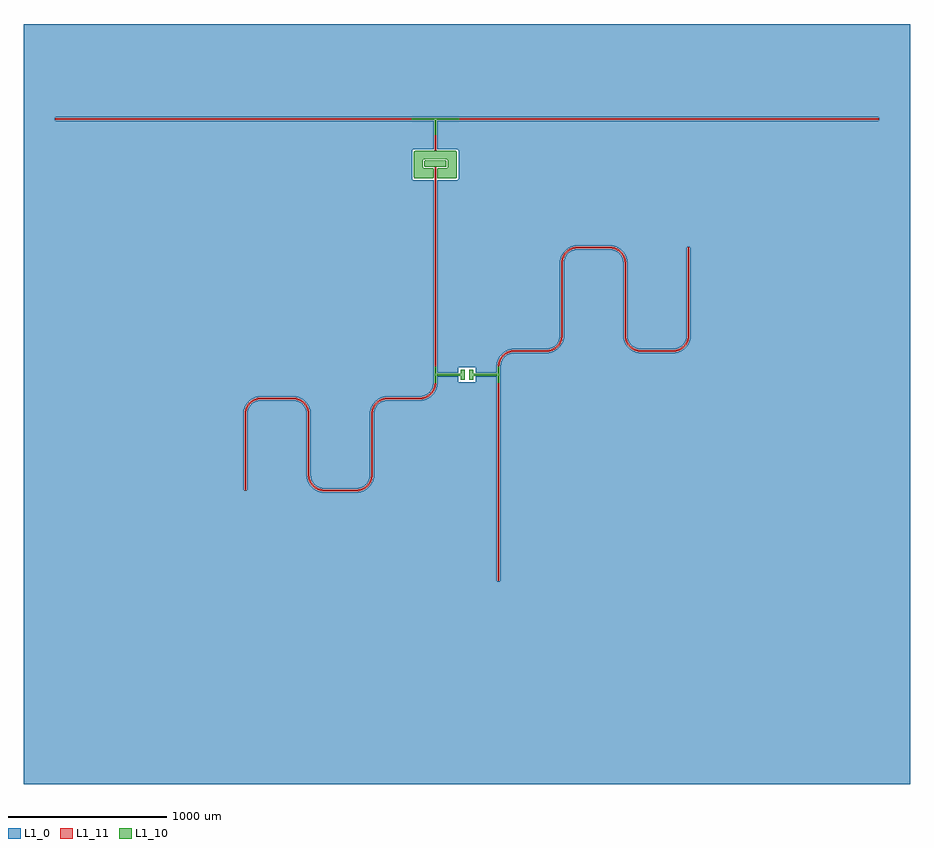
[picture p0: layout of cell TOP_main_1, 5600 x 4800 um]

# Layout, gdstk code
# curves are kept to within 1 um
import gdstk
lib = gdstk.Library(unit=1e-6, precision=1e-09)
def R(c, l, rs):  # rectangles x0, y0, x1, y1
    for r in rs: c.add(gdstk.rectangle(r[:2], r[2:], *l))
def P(c, l, *ps):  # polygons
    for p in ps: c.add(gdstk.Polygon(p, *l))
L1_0 = (1, 0)
L1_10 = (1, 10)
L1_11 = (1, 11)

ground_main_1 = lib.new_cell('ground_main_1')
R(ground_main_1, L1_0, [(-1017.121,1611,-652.812,2200), (-652.812,1611,-501,2200), (-501,1611,-55.724,2200), (-55.724,1611,299,2200), (299,1611,651.22,2200), (651.22,1611,1016.719,2200)])
P(ground_main_1, L1_0, [(-1017.121,-2600),(-1017.121,-231.779),(-1029.728,-209.729),(-1046.846,-193.12),(-1058.104,-186.08),(-1070.294,-180.814),(-1093.687,-176.161),(-1311.607,-176.642),(-1329.706,-180.814),(-1344.23,-187.351),(-1359.355,-198.131),(-1370.272,-209.729),(-1378.92,-223.104),(-1384.186,-235.294),(-1387.559,-248.138),(-1388.96,-261.342),(-1389,-745.727),(-1411,-745.727),(-1410.96,-261.021),(-1409.551,-246.204),(-1405.242,-228.877),(-1399.546,-215.126),(-1390.341,-199.827),(-1374.457,-182.121),(-1352.525,-166.814),(-1327.547,-157.251),(-1303.979,-154.04),(-1084.15,-155.007),(-1063.877,-159.758),(-1047.475,-166.814),(-1032.431,-176.43),(-1017.121,-190.543),(-1017.121,1589),(-2600,1589),(-2600,1611),(-1017.121,1611),(-1017.121,2200),(-2800,2200),(-2800,-2600)],
  [(-696.342,-734.687),(-672.82,-730.742),(-652.812,-721.621),(-652.812,1589),(-1017.121,1589),(-1017.121,-190.543),(-1004.746,-207.289),(-996.813,-223.285),(-991.572,-240.353),(-989.161,-258.045),(-987.998,-659.968),(-985.015,-672.907),(-980.12,-685.25),(-966.869,-705.081),(-957.339,-714.328),(-946.526,-722.035),(-934.676,-728.028),(-922.06,-732.17),(-901,-734.727)],
  [(-652.812,-746.56),(-675.353,-754.155),(-696.021,-756.686),(-912.893,-756.082),(-936.123,-750.969),(-957.711,-740.981),(-974.457,-728.605),(-990.341,-710.9),(-998.186,-698.252),(-1004.253,-684.66),(-1009.029,-667.456),(-1010.839,-652.682),(-1011,-264),(-1012.441,-248.138),(-1017.121,-231.779),(-1017.121,-2600),(-652.812,-2600)],
  [(-651.22,-720.626),(-636.775,-708.952),(-623.691,-692.252),(-615.814,-675.433),(-611.361,-654.691),(-611,-264),(-609.993,-249.15),(-606.99,-234.572),(-600.833,-217.812),(-592.046,-202.269),(-580.86,-188.353),(-567.569,-176.43),(-552.525,-166.814),(-536.123,-159.758),(-518.796,-155.449),(-501,-154),(-501,1589),(-652.812,1589),(-652.812,-721.621)],
  [(-501,-176),(-516.862,-177.441),(-529.706,-180.814),(-541.896,-186.08),(-553.154,-193.12),(-565.076,-203.682),(-573.423,-214.01),(-580.12,-225.476),(-585.768,-240.369),(-589,-264),(-590.007,-661.577),(-596.813,-687.442),(-609.659,-710.9),(-619.14,-722.374),(-630.084,-732.462),(-652.812,-746.56),(-652.812,-2600),(-501,-2600)],
  [(-189,1589),(-189,1410),(-65,1410),(-60.408,1409.087),(-55.724,1405.613),(-55.724,1589)],
  [(-299,-154),(-283.138,-152.559),(-265.324,-147.301),(-251.22,-139.899),(-238.682,-130.076),(-228.12,-118.154),(-219.88,-104.524),(-213.557,-87.06),(-211.161,-71.313),(-211,1213),(-335,1213),(-340.657,1214.417),(-344.978,1218.333),(-347,1225),(-346.942,1399.176),(-343.485,1406.485),(-336.176,1409.942),(-211,1410),(-211,1589),(-501,1589),(-501,-154)],
  [(-56,31.5),(-55.724,1217.387),(-60.408,1213.913),(-65,1213),(-189,1213),(-189,-4),(-56,-4)],
  [(-55.724,-62.509),(-56,-26),(-189,-26),(-189.645,-77.893),(-192.251,-92.547),(-197.953,-109.467),(-207.954,-127.731),(-219.14,-141.647),(-234.827,-155.341),(-250.126,-164.546),(-272.453,-172.749),(-293.045,-175.839),(-501,-176),(-501,-2600),(-55.724,-2600)],
  [(189.04,38.979),(192.251,62.547),(199.167,82.188),(209.659,100.173),(223.353,115.86),(239.758,128.684),(258.285,138.187),(278.271,144.029),(299,146),(299,1589),(-55.724,1589),(-55.724,1405.613),(-53,1398),(-53,1225),(-55.724,1217.387),(-55.724,32.509),(54.581,33.414),(56,31.5),(56,-4),(189,-4)],
  [(299,124),(283.138,122.559),(265.324,117.301),(251.22,109.899),(238.682,100.076),(228.12,88.154),(219.88,74.524),(213.557,57.06),(211.161,41.313),(211,-1321),(189,-1321),(189,-26),(56,-26),(56,-61.5),(54.581,-63.414),(-55.724,-62.509),(-55.724,-2600),(299,-2600)],
  [(503.658,146.04),(516.862,147.441),(532.205,151.719),(546.526,158.691),(557.339,166.399),(566.869,175.645),(576.309,188.474),(582.301,200.324),(587.04,215.53),(589,234),(589.645,701.322),(595.747,727.362),(601.814,740.954),(609.659,753.603),(627.788,773.267),(651.22,788.5),(651.22,1589),(299,1589),(299,146)],
  [(651.22,763.329),(636.775,751.655),(623.691,734.955),(614.985,715.61),(611.361,697.393),(610.96,231.021),(606.99,204.572),(596.755,179.862),(582.879,160.543),(565.173,144.659),(544.467,132.953),(521.729,125.971),(501,124),(299,124),(299,-2600),(651.22,-2600)],
  [(651.22,1589),(651.22,788.5),(672.453,796.178),(696.021,799.389),(912.893,798.784),(936.123,793.671),(957.711,783.684),(976.647,769.289),(993.684,748.672),(1000.833,735.617),(1006.155,721.717),(1010.839,695.385),(1011,234),(1012.441,218.138),(1016.719,202.795),(1016.719,1589)],
  [(1016.719,161.005),(1006.316,174.758),(997.953,190.533),(992.251,207.453),(989.363,225.073),(988.96,692.087),(985.768,713.06),(976.309,734.955),(963.225,751.655),(948.78,763.329),(929.706,772.616),(908.964,777.068),(693.687,777.269),(670.294,772.616),(651.22,763.329),(651.22,-2600),(1016.719,-2600)],
  [(2800,2200),(1016.719,2200),(1016.719,1611),(2600,1611),(2600,1589),(1016.719,1589),(1016.719,202.795),(1019.88,195.476),(1033.131,175.645),(1051.22,160.101),(1072.82,149.985),(1096.342,146.04),(1314.241,147.002),(1332.205,151.719),(1348.78,160.101),(1363.225,171.775),(1374.899,186.22),(1385.015,207.82),(1388.96,231.342),(1389,788.429),(1411,788.429),(1410.96,231.021),(1409.551,216.204),(1406.155,201.713),(1400.833,187.812),(1393.684,174.758),(1376.647,154.14),(1355.138,138.245),(1330.428,128.01),(1303.979,124.04),(1084.15,125.007),(1063.877,129.758),(1047.475,136.814),(1030.084,148.265),(1016.719,161.005),(1016.719,-2600),(2800,-2600)])

top_main_1 = lib.new_cell('TOP_main_1')
P(top_main_1, L1_10, [(-205,1500),(-205,1595),(-350,1595),(-350,1605),(-50,1605),(-50,1595),(-195,1595),(-195,1500),(-205,1500)],
  [(-270,1330),(-267.657,1335.657),(-262.784,1337.961),(-136.439,1337.846),(-132.343,1335.657),(-130.154,1331.561),(-130.154,1303.439),(-132.925,1298.816),(-138,1297),(-263.561,1297.154),(-267.657,1299.343),(-269.846,1303.439)],
  [(-218.902,1225.005),(-213.779,1226.948),(-211.067,1232.022),(-211.861,1284.594),(-218.022,1288.933),(-270,1289),(-275.075,1290.816),(-277.961,1296.216),(-278,1338),(-275.657,1343.657),(-270.784,1345.961),(-211,1346),(-211,1398),(-326.902,1398),(-331.276,1396.753),(-333.954,1393.94),(-335,1389.902),(-335,1233.098),(-333.753,1228.724),(-327.098,1225.005)],
  [(-72.902,1225.005),(-67.489,1227.211),(-65.005,1232.902),(-65,1389.902),(-66.699,1394.917),(-73.098,1398),(-211,1398),(-211,1346),(-129.216,1345.961),(-124.343,1343.657),(-122.039,1338.784),(-122.039,1296.216),(-124.925,1290.816),(-130,1289),(-181.588,1288.971),(-187.954,1284.94),(-189,1233.098),(-187.301,1228.083),(-181.098,1225.005)],
  [(-195,35),(-195,-10),(-40,-10),(-39.546,16.769),(-16.235,17.348),(-15,15.5),(-15.152,-46.265),(-17,-47.5),(-39.414,-46.914),(-40,-20),(-195,-20),(-195,-65),(-205,-65),(-205,35)],
  [(16.804,-47.49),(15,-45.5),(15,15.5),(16.235,17.348),(39.546,16.769),(40,-10),(195,-10),(195,35),(205,35),(205,-65),(195,-65),(195,-20),(40,-20),(39.546,-46.769)])
R(top_main_1, L1_11, [(195,-1315,205,-65), (-205,35,-195,1185), (-205,1185,-195,1297.001), (-205,1397.999,-195,1450), (-205,1450,-195,1500), (-2600,1595,-350,1605), (-50,1595,2600,1605)])
P(top_main_1, L1_11, [(-1395,-264),(-1393.572,-247.677),(-1389.331,-231.85),(-1382.406,-217),(-1373.008,-203.578),(-1361.422,-191.992),(-1348,-182.594),(-1333.15,-175.669),(-1317.323,-171.428),(-1301,-170),(-1088.087,-170.636),(-1072.04,-173.949),(-1054.388,-181.261),(-1040.698,-190.265),(-1028.78,-201.509),(-1028.78,-187.29),(-1037.408,-180.2),(-1059.864,-167.645),(-1084.715,-160.986),(-1301,-160),(-1326.53,-163.182),(-1350.499,-172.535),(-1369.302,-185.573),(-1386.465,-204.74),(-1399.365,-230.231),(-1403.582,-246.882),(-1404.961,-261.134),(-1405,-745.727),(-1395,-745.727)],
  [(-699,-740.727),(-901,-740.727),(-917.323,-739.299),(-938.231,-733.039),(-954.916,-723.727),(-969.373,-711.233),(-982.406,-693.727),(-991.797,-671.056),(-994.96,-649.461),(-995.355,-255.412),(-998.924,-235.701),(-1006.206,-217.041),(-1016.929,-200.122),(-1028.78,-187.29),(-1028.78,-201.509),(-1020.464,-212.346),(-1012.688,-226.769),(-1008.203,-239.671),(-1005.358,-255.807),(-1004.961,-649.592),(-1001.076,-675.025),(-989.6,-701.189),(-975.545,-719.246),(-957.883,-733.792),(-937.466,-744.124),(-915.285,-749.741),(-699,-750.727)],
  [(-696.134,-750.687),(-679.062,-748.798),(-662.534,-744.124),(-647,-736.793),(-632.885,-727.006),(-620.573,-715.029),(-610.4,-701.189),(-602.645,-685.863),(-597.517,-669.469),(-595,-646.727),(-594.841,-258.534),(-592.466,-242.322),(-587.312,-226.769),(-579.536,-212.346),(-569.373,-199.493),(-569.373,-185.636),(-583.071,-200.122),(-593.794,-217.041),(-601.076,-235.701),(-604.645,-255.412),(-605,-646.727),(-607.534,-668.405),(-611.641,-681.432),(-617.594,-693.727),(-625.265,-705.029),(-634.493,-715.1),(-647.346,-725.263),(-664.295,-734.085),(-682.677,-739.299),(-699,-740.727),(-699,-750.727)],
  [(-567.468,-197.532),(-554.916,-187),(-540.726,-178.807),(-527.96,-173.949),(-511.913,-170.636),(-296.134,-169.961),(-281.882,-168.582),(-265.231,-164.365),(-249.501,-157.465),(-235.122,-148.071),(-224.455,-138.519),(-213.535,-125.26),(-204.947,-110.385),(-199.742,-97.046),(-195.986,-80.285),(-195,-65),(-205,-65),(-205.992,-79.624),(-209.771,-95.567),(-216.261,-110.612),(-225.265,-124.302),(-242.867,-141.4),(-254.388,-148.739),(-266.85,-154.331),(-282.677,-158.572),(-296.266,-159.96),(-515.285,-160.986),(-537.466,-166.603),(-560.26,-178.535),(-569.373,-185.636),(-569.373,-199.493)],
  [(205,36),(205.992,49.624),(209.771,65.567),(214.999,78.187),(222,89.916),(230.627,100.507),(242.867,111.4),(254.388,118.739),(266.85,124.331),(282.677,128.572),(296.266,129.96),(501,130),(518.118,131.418),(540.136,137.645),(562.592,150.2),(571.22,157.29),(571.22,171.509),(559.302,160.265),(545.612,151.261),(527.96,143.949),(511.913,140.636),(296.134,139.961),(279.062,138.071),(262.534,133.397),(244.538,124.6),(230.698,114.427),(218.721,102.115),(208.933,88),(199.742,67.046),(195.355,44.588),(195,35),(205,35)],
  [(571.437,157.485),(584.8,172.408),(595.053,189.615),(601.818,208.47),(604.645,225.412),(605.04,692.163),(608.203,713.758),(614.999,731.616),(626.992,749.851),(642.867,764.829),(661.769,775.742),(679.992,781.487),(699,783.429),(901,783.429),(901,793.429),(699,793.429),(679.062,791.5),(657.224,784.67),(635.122,771.5),(618.721,755.545),(606.206,736.389),(598.182,714.96),(595.039,692.295),(594.841,228.534),(593.058,214.992),(588.359,199.295),(581.005,184.652),(571.22,171.509)],
  [(1030.627,169.493),(1020.464,182.346),(1012.688,196.769),(1007.534,212.322),(1005.159,228.534),(1005,689.429),(1003.071,709.367),(998.397,725.896),(989.6,743.891),(979.427,757.732),(967.115,769.709),(950.499,780.895),(934.769,787.794),(918.118,792.011),(901,793.429),(901,783.429),(917.323,782.001),(935.705,776.788),(952.654,767.965),(965.507,757.802),(976.4,745.562),(983.739,734.042),(989.331,721.579),(993.058,708.438),(995,689.429),(995.355,225.412),(1000.635,200.231),(1010.4,179.538),(1018.721,167.885),(1030.627,155.636)],
  [(1303.866,130.039),(1320.938,131.929),(1337.466,136.603),(1355.462,145.4),(1369.302,155.573),(1381.279,167.885),(1391.067,182),(1399.365,200.231),(1403.582,216.882),(1405,234),(1405,788.429),(1395,788.429),(1394.96,231.266),(1391.051,207.04),(1381.005,184.652),(1365.507,165.627),(1348,152.594),(1327.96,143.949),(1303.734,140.04),(1088.087,140.636),(1072.04,143.949),(1056.813,149.999),(1042.867,158.6),(1030.627,169.493),(1030.627,155.636),(1039.74,148.535),(1062.534,136.603),(1084.715,130.986)])
top_main_1.add(gdstk.Reference(ground_main_1, (0,0)))

lib.write_gds('TOP_main_1.gds')
